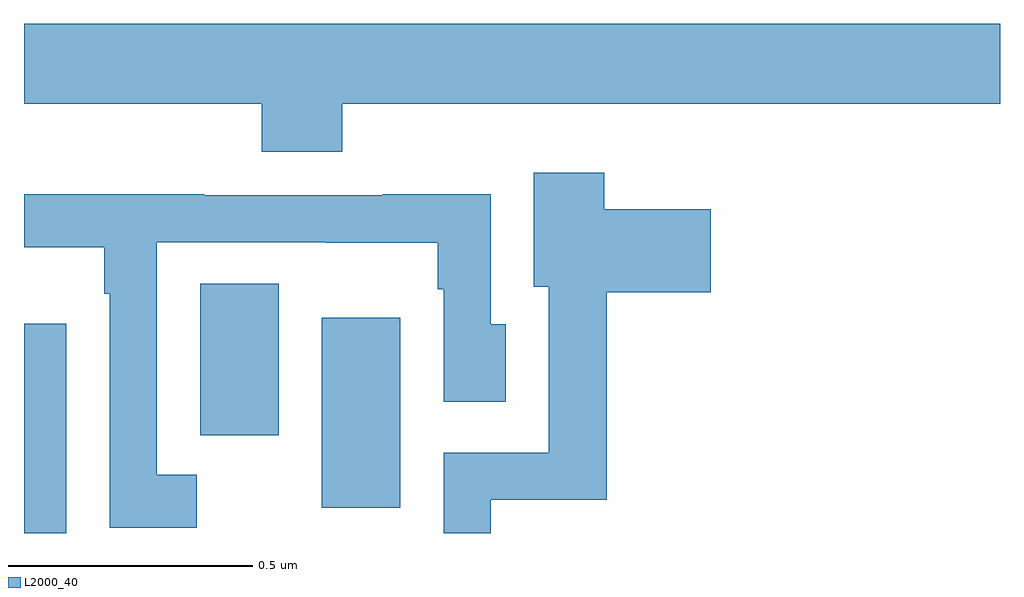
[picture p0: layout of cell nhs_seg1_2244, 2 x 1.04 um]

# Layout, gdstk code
import gdstk
lib = gdstk.Library(unit=1e-6, precision=1e-09)
def R(c, l, rs):  # rectangles x0, y0, x1, y1
    for r in rs: c.add(gdstk.rectangle(r[:2], r[2:], *l))
def P(c, l, *ps):  # polygons
    for p in ps: c.add(gdstk.Polygon(p, *l))
L2000_40 = (2000, 40)

nhs_seg1_2244 = lib.new_cell('nhs_seg1_2244')
R(nhs_seg1_2244, L2000_40, [(139,536.199,139.087,536.629), (139.61,536.252,139.771,536.641), (139.361,536.4,139.522,536.711)])
P(nhs_seg1_2244, L2000_40, [(139.652,537.08),(141,537.08),(141,537.244),(139,537.244),(139,537.08),(139.487,537.08),(139.487,536.981),(139.652,536.981)],
  [(139.956,536.268),(140.194,536.268),(140.194,536.693),(140.407,536.693),(140.407,536.863),(140.189,536.863),(140.189,536.938),(140.045,536.938),(140.045,536.705),(140.075,536.705),(140.075,536.364),(139.86,536.364),(139.86,536.199),(139.956,536.199)],
  [(139.354,536.319),(139.272,536.319),(139.272,536.796),(139.618,536.796),(139.618,536.795),(139.848,536.795),(139.848,536.699),(139.86,536.699),(139.86,536.469),(139.987,536.469),(139.987,536.628),(139.956,536.628),(139.956,536.894),(139.735,536.894),(139.735,536.892),(139.369,536.892),(139.369,536.894),(139,536.894),(139,536.786),(139.164,536.786),(139.164,536.69),(139.176,536.69),(139.176,536.211),(139.354,536.211)])

lib.write_gds('nhs_seg1_2244.gds')
